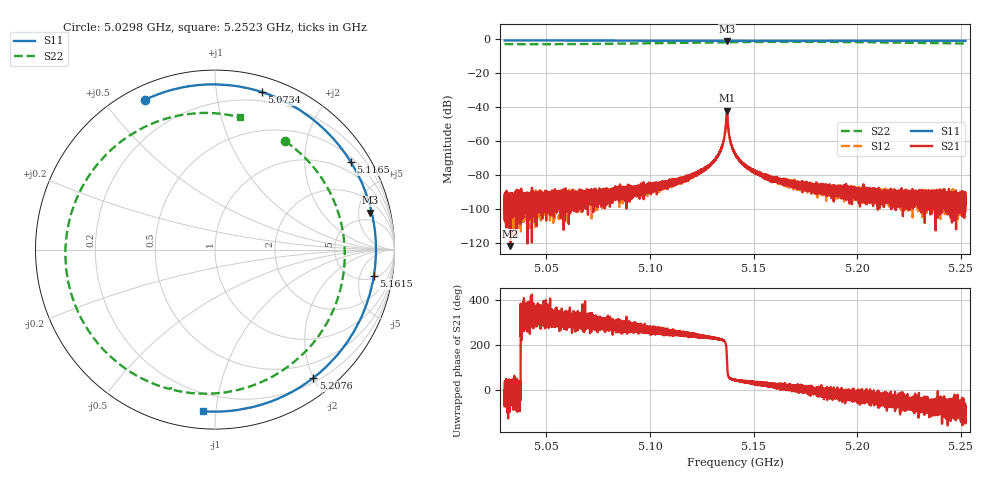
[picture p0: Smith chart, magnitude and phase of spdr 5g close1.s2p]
!Agilent Technologies,N5230A,MY46401289,A.07.50.67
!Agilent N5230A: A.07.50.67
!Date: Tuesday, January 05, 2021 01:17:37
!Correction: S11(Full 2 Port(1,2))
!S21(Full 2 Port(1,2))
!S12(Full 2 Port(1,2))
!S22(Full 2 Port(1,2))
!S2P File: Measurements: S11, S21, S12, S22:
# Hz S  MA  R 50
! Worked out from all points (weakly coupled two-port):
!   16001 points, 5.0298 GHz to 5.2523 GHz, reference 50 ohm
!   highest |S21| = -42.07 dB at 5.1372 GHz (marker M1); lowest = -121.8 dB at 5.0326 GHz (marker M2)
!   lowest |S11| = -1.0 dB at 5.1372 GHz (marker M3), VSWR 17.10, Z = 172 + j340 ohm
!   |S11| at or under -10 dB: nowhere
!   |S22| runs from -2.9 to -1.5 dB; largest |S21 - S12| = 0.00044
!   S11 on the Smith chart (normalised r, x): 5.0298 GHz: 0.06, +0.64; 5.0734 GHz: 0.12, +1.33; 5.1165 GHz: 0.64, +3.29; 5.1615 GHz: 6, -8; 5.2076 GHz: 0.26, -2.00; 5.2523 GHz: 0.09, -0.92
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5.029809e9  0.9204 115.0  1.459e-05 -30.8  9.498e-06 -21.5  0.7194 57.1
5.032576e9  0.9212 112.2  8.123e-07 -72.9  3.526e-06 -45.4  0.7181 52.6
5.066897e9  0.9177 79.6  2.072e-05 -47.8  2.09e-05 -54.0  0.7236 -1.9
5.073391e9  0.9158 73.4  1.705e-05 -65.4  2.269e-05 -35.5  0.7291 -12.0
5.103985e9  0.9041 44.6  4.372e-05 -96.7  5.273e-05 -104.8  0.7693 -58.8
5.116529e9  0.9002 32.8  6.825e-05 -113.9  7.933e-05 -114.4  0.7887 -77.4
5.123524e9  0.8988 26.2  0.0001357 -123.0  0.0001133 -123.0  0.7992 -87.8
5.130881e9  0.8977 19.3  0.0002576 -128.8  0.0002652 -128.7  0.8091 -98.5
5.134441e9  0.8975 15.9  0.0005981 -136.9  0.0006034 -137.1  0.8137 -103.7
5.136471e9  0.8965 13.9  0.002314 -152.4  0.002285 -151.1  0.8155 -106.8
5.137152e9  0.8895 13.4  0.007881 135.2  0.007915 138.3  0.8087 -107.7
5.137875e9  0.8966 12.9  0.002215 59.5  0.002251 60.2  0.817 -108.5
5.139363e9  0.8972 11.4  0.0007632 47.2  0.0007537 47.3  0.8194 -110.8
5.14106e9  0.897 9.8  0.0004196 42.6  0.0004272 43.0  0.8212 -113.3
5.145107e9  0.897 5.9  0.0002073 34.5  0.0002071 38.2  0.8253 -119.2
5.151587e9  0.8969 -0.2  0.0001133 25.4  0.0001193 29.5  0.8308 -128.6
5.161461e9  0.897 -9.4  6.518e-05 19.2  7.036e-05 10.0  0.8364 -142.9
5.178148e9  0.898 -25.0  4.251e-05 -1.5  5.12e-05 -5.6  0.8376 -167.5
5.207644e9  0.9006 -52.5  3.018e-05 -25.4  3.379e-05 -29.5  0.8129 148.5
5.215237e9  0.9013 -59.7  2.229e-05 -71.1  3.322e-05 -43.4  0.8033 137.0
5.234163e9  0.9019 -77.4  2.229e-05 -68.8  1.968e-05 -74.3  0.7766 108.0
5.252311e9  0.9036 -94.3  1.998e-05 -129.6  2.238e-05 -89.2  0.7497 79.3
